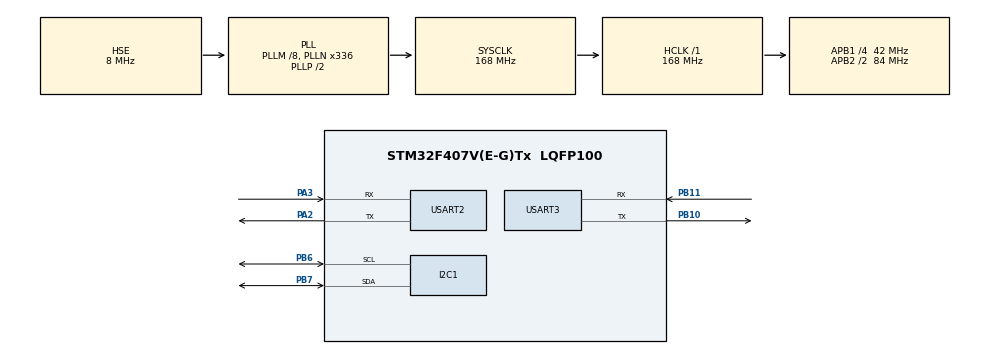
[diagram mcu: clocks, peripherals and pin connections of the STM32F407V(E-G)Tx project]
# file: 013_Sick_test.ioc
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Mcu.Family=STM32F4
Mcu.Name=STM32F407V(E-G)Tx
Mcu.Package=LQFP100
NVIC.PriorityGroup=NVIC_PRIORITYGROUP_0
PA13.Mode=Serial_Wire
PA13.Signal=SYS_JTMS-SWDIO
PA14.Mode=Serial_Wire
PA14.Signal=SYS_JTCK-SWCLK
PA2.Mode=Asynchronous
PA2.Signal=USART2_TX
PA3.Mode=Asynchronous
PA3.Signal=USART2_RX
PB10.Mode=Asynchronous
PB10.Signal=USART3_TX
PB11.Mode=Asynchronous
PB11.Signal=USART3_RX
PB6.Mode=I2C
PB6.Signal=I2C1_SCL
PB7.Mode=I2C
PB7.Signal=I2C1_SDA
PC14-OSC32_IN.Mode=LSE-External-Oscillator
PC14-OSC32_IN.Signal=RCC_OSC32_IN
PC15-OSC32_OUT.Mode=LSE-External-Oscillator
PC15-OSC32_OUT.Signal=RCC_OSC32_OUT
PH0-OSC_IN.Mode=HSE-External-Oscillator
PH0-OSC_IN.Signal=RCC_OSC_IN
PH1-OSC_OUT.Mode=HSE-External-Oscillator
PH1-OSC_OUT.Signal=RCC_OSC_OUT
ProjectManager.HeapSize=0x200
ProjectManager.StackSize=0x400
ProjectManager.TargetToolchain=STM32CubeIDE
RCC.48MHZClocksFreq_Value=48000000
RCC.AHBFreq_Value=168000000
RCC.APB1CLKDivider=RCC_HCLK_DIV4
RCC.APB1Freq_Value=42000000
RCC.APB1TimFreq_Value=84000000
RCC.APB2CLKDivider=RCC_HCLK_DIV2
RCC.APB2Freq_Value=84000000
RCC.APB2TimFreq_Value=168000000
RCC.CortexFreq_Value=168000000
RCC.HCLKFreq_Value=168000000
RCC.HSE_VALUE=8000000
RCC.HSI_VALUE=16000000
RCC.PLLM=8
RCC.PLLN=336
RCC.PLLQ=7
RCC.PLLSourceVirtual=RCC_PLLSOURCE_HSE
RCC.SYSCLKFreq_VALUE=168000000
RCC.SYSCLKSource=RCC_SYSCLKSOURCE_PLLCLK
RCC.VCOOutputFreq_Value=336000000
USART2.VirtualMode=VM_ASYNC
USART3.VirtualMode=VM_ASYNC
board=STM32F407G-DISC1

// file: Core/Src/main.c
/* USER CODE BEGIN Header */
/**
  ******************************************************************************
  * @file           : main.c
  * @brief          : Main program body
  ******************************************************************************
  * @attention
  *
  * Copyright (c) 2026 STMicroelectronics.
  * All rights reserved.
  *
  * This software is licensed under terms that can be found in the LICENSE file
  * in the root directory of this software component.
  * If no LICENSE file comes with this software, it is provided AS-IS.
  *
  ******************************************************************************
  */
/* USER CODE END Header */
#include "main.h"

/* USER CODE BEGIN Includes */
//#include "ADS1015_ADS1115.h"
#include "ads1115.h"
/* USER CODE END Includes */

/* USER CODE BEGIN PTD */
//  ADS1xx5_I2C i2c;
/* USER CODE END PTD */

/* USER CODE BEGIN PD */

#include <stdio.h>
#include <string.h>

// In setup (USER CODE BEGIN 2)

// In loop (USER CODE BEGIN WHILE)

/* USER CODE END PD */

I2C_HandleTypeDef hi2c1;

UART_HandleTypeDef huart2;
UART_HandleTypeDef huart3;

void SystemClock_Config(void);
static void MX_GPIO_Init(void);
static void MX_I2C1_Init(void);
static void MX_USART2_UART_Init(void);
static void MX_USART3_UART_Init(void);

int main(void)
{

  /* MCU Configuration--------------------------------------------------------*/

  /* Reset of all peripherals, Initializes the Flash interface and the Systick. */
  HAL_Init();

  /* Configure the system clock */
  SystemClock_Config();

  /* Initialize all configured peripherals */
  MX_GPIO_Init();
  MX_I2C1_Init();
  MX_USART2_UART_Init();
  MX_USART3_UART_Init();
  /* USER CODE BEGIN 2 */
//  ADS1115(&i2c, &hi2c1, ADS_ADDR_GND); // Or ADS1015(&i2c, &hi2c1, ADS_ADDR_GND);
//  ADSsetGain(&i2c, GAIN_EIGHT);
  if (ADS1115_Init(&hi2c1, ADS1115_DATA_RATE_128, ADS1115_PGA_TWOTHIRDS) == HAL_OK) {
      HAL_Delay(100);
  } else {
      Error_Handler();
  }
//  float ch0_mV = 0;
  char msg[200];
  float total_dis = 1000.0f;
  float ch0_mV ,ch1_mV , ch2_mV = 0;
  /* USER CODE END 2 */

  /* Infinite loop */
  while (1)
  {

    /* USER CODE BEGIN 3 */
	         //Selecting different Channel ADS1115_MUX_AIN0 means Channel zero and So on
	         ADS1115_readSingleEnded(ADS1115_MUX_AIN0, &ch0_mV);
	         ADS1115_readSingleEnded(ADS1115_MUX_AIN1, &ch1_mV);
	         ADS1115_readSingleEnded(ADS1115_MUX_AIN2, &ch2_mV);

	          float voltage0 = ch0_mV / 1000.0f;
	          float dist0   = ((voltage0 - 0.19f)/4.97f)  *  total_dis; //Sick 1
	          float voltage1 = ch1_mV / 1000.0f;
	          float dist1   = ((voltage1 - 0.21f)/4.96f)  *  total_dis; //Sick 2
	          float voltage2 = ch2_mV / 1000.0f;
	          float dist2   = ((voltage2 - 0.36f)/4.77f)  *  total_dis; //Sick 3

	          //This is only done for Printing data on Terminal as we can't print float Directly
	          // Split floats into integer + decimal parts
	          int dist_int0  = (int)dist0;
	          int dist_dec0  = (int)((dist0  - dist_int0) * 10);     // 1 decimal place

	          // Split floats into integer + decimal parts
	          int dist_int1  = (int)dist1;
	          int dist_dec1  = (int)((dist1  - dist_int1) * 10);     // 1 decimal place

	          // Split floats into integer + decimal parts
	          int dist_int2  = (int)dist2;
	          int dist_dec2  = (int)((dist2  - dist_int2) * 10);     // 1 decimal place

	          int len = snprintf(msg, sizeof(msg),
	                      " D0:%d.%d CM  ||   D1:%d.%d CM ||  D2:%d.%d CM\r\n",
	                      dist_int0, dist_dec0,dist_int1, dist_dec1,dist_int2, dist_dec2);

	          HAL_UART_Transmit(&huart2, (uint8_t*)msg, len, HAL_MAX_DELAY);

	      HAL_Delay(100);
  }
  /* USER CODE END 3 */
}

void SystemClock_Config(void)
{
  RCC_OscInitTypeDef RCC_OscInitStruct = {0};
  RCC_ClkInitTypeDef RCC_ClkInitStruct = {0};

  /** Configure the main internal regulator output voltage
  */
  __HAL_RCC_PWR_CLK_ENABLE();
  __HAL_PWR_VOLTAGESCALING_CONFIG(PWR_REGULATOR_VOLTAGE_SCALE1);

  /** Initializes the RCC Oscillators according to the specified parameters
  * in the RCC_OscInitTypeDef structure.
  */
  RCC_OscInitStruct.OscillatorType = RCC_OSCILLATORTYPE_HSE;
  RCC_OscInitStruct.HSEState = RCC_HSE_ON;
  RCC_OscInitStruct.PLL.PLLState = RCC_PLL_ON;
  RCC_OscInitStruct.PLL.PLLSource = RCC_PLLSOURCE_HSE;
  RCC_OscInitStruct.PLL.PLLM = 8;
  RCC_OscInitStruct.PLL.PLLN = 336;
  RCC_OscInitStruct.PLL.PLLP = RCC_PLLP_DIV2;
  RCC_OscInitStruct.PLL.PLLQ = 7;
  if (HAL_RCC_OscConfig(&RCC_OscInitStruct) != HAL_OK)
  {
    Error_Handler();
  }

  /** Initializes the CPU, AHB and APB buses clocks
  */
  RCC_ClkInitStruct.ClockType = RCC_CLOCKTYPE_HCLK|RCC_CLOCKTYPE_SYSCLK
                              |RCC_CLOCKTYPE_PCLK1|RCC_CLOCKTYPE_PCLK2;
  RCC_ClkInitStruct.SYSCLKSource = RCC_SYSCLKSOURCE_PLLCLK;
  RCC_ClkInitStruct.AHBCLKDivider = RCC_SYSCLK_DIV1;
  RCC_ClkInitStruct.APB1CLKDivider = RCC_HCLK_DIV4;
  RCC_ClkInitStruct.APB2CLKDivider = RCC_HCLK_DIV2;

  if (HAL_RCC_ClockConfig(&RCC_ClkInitStruct, FLASH_LATENCY_5) != HAL_OK)
  {
    Error_Handler();
  }
}

static void MX_I2C1_Init(void)
{

  hi2c1.Instance = I2C1;
  hi2c1.Init.ClockSpeed = 100000;
  hi2c1.Init.DutyCycle = I2C_DUTYCYCLE_2;
  hi2c1.Init.OwnAddress1 = 0;
  hi2c1.Init.AddressingMode = I2C_ADDRESSINGMODE_7BIT;
  hi2c1.Init.DualAddressMode = I2C_DUALADDRESS_DISABLE;
  hi2c1.Init.OwnAddress2 = 0;
  hi2c1.Init.GeneralCallMode = I2C_GENERALCALL_DISABLE;
  hi2c1.Init.NoStretchMode = I2C_NOSTRETCH_DISABLE;
  if (HAL_I2C_Init(&hi2c1) != HAL_OK)
  {
    Error_Handler();
  }

}

static void MX_USART2_UART_Init(void)
{

  huart2.Instance = USART2;
  huart2.Init.BaudRate = 115200;
  huart2.Init.WordLength = UART_WORDLENGTH_8B;
  huart2.Init.StopBits = UART_STOPBITS_1;
  huart2.Init.Parity = UART_PARITY_NONE;
  huart2.Init.Mode = UART_MODE_TX_RX;
  huart2.Init.HwFlowCtl = UART_HWCONTROL_NONE;
  huart2.Init.OverSampling = UART_OVERSAMPLING_16;
  if (HAL_UART_Init(&huart2) != HAL_OK)
  {
    Error_Handler();
  }

}

static void MX_USART3_UART_Init(void)
{

  huart3.Instance = USART3;
  huart3.Init.BaudRate = 115200;
  huart3.Init.WordLength = UART_WORDLENGTH_8B;
  huart3.Init.StopBits = UART_STOPBITS_1;
  huart3.Init.Parity = UART_PARITY_NONE;
  huart3.Init.Mode = UART_MODE_TX_RX;
  huart3.Init.HwFlowCtl = UART_HWCONTROL_NONE;
  huart3.Init.OverSampling = UART_OVERSAMPLING_16;
  if (HAL_UART_Init(&huart3) != HAL_OK)
  {
    Error_Handler();
  }

}

static void MX_GPIO_Init(void)
{

  /* GPIO Ports Clock Enable */
  __HAL_RCC_GPIOC_CLK_ENABLE();
  __HAL_RCC_GPIOH_CLK_ENABLE();
  __HAL_RCC_GPIOA_CLK_ENABLE();
  __HAL_RCC_GPIOB_CLK_ENABLE();

}

void Error_Handler(void)
{
  __disable_irq();
  while (1)
  {
  }
}
